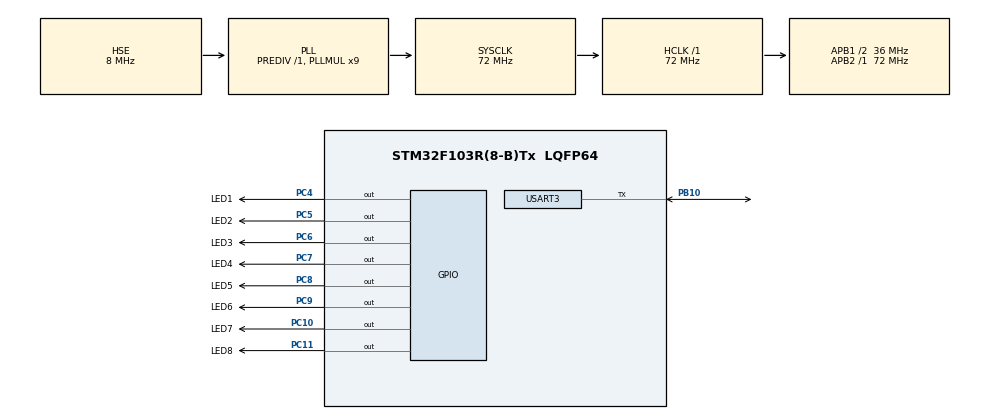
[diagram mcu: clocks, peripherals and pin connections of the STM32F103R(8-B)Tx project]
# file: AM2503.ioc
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Mcu.Family=STM32F1
Mcu.Name=STM32F103R(8-B)Tx
Mcu.Package=LQFP64
NVIC.PriorityGroup=NVIC_PRIORITYGROUP_4
NVIC.TIM1_BRK_IRQn=true\:0\:0\:false\:false\:true
NVIC.TIM1_CC_IRQn=true\:0\:0\:false\:false\:true
NVIC.TIM1_TRG_COM_IRQn=true\:0\:0\:false\:false\:true
NVIC.TIM1_UP_IRQn=true\:0\:0\:false\:false\:true
NVIC.USART3_IRQn=true\:0\:0\:false\:false\:true
PA13.Mode=Serial_Wire
PA13.Signal=SYS_JTMS-SWDIO
PA14.Mode=Serial_Wire
PA14.Signal=SYS_JTCK-SWCLK
PB10.Mode=Half_duplex(single_wire_mode)
PB10.Signal=USART3_TX
PC10.GPIO_Label=LED7
PC10.GPIO_ModeDefaultOutputPP=GPIO_MODE_OUTPUT_PP
PC10.GPIO_Speed=GPIO_SPEED_FREQ_MEDIUM
PC10.PinState=GPIO_PIN_RESET
PC10.Signal=GPIO_Output
PC11.GPIO_Label=LED8
PC11.GPIO_ModeDefaultOutputPP=GPIO_MODE_OUTPUT_PP
PC11.GPIO_Speed=GPIO_SPEED_FREQ_MEDIUM
PC11.PinState=GPIO_PIN_RESET
PC11.Signal=GPIO_Output
PC4.GPIO_Label=LED1
PC4.GPIO_ModeDefaultOutputPP=GPIO_MODE_OUTPUT_PP
PC4.GPIO_Speed=GPIO_SPEED_FREQ_MEDIUM
PC4.PinState=GPIO_PIN_RESET
PC4.Signal=GPIO_Output
PC5.GPIO_Label=LED2
PC5.GPIO_ModeDefaultOutputPP=GPIO_MODE_OUTPUT_PP
PC5.GPIO_Speed=GPIO_SPEED_FREQ_MEDIUM
PC5.PinState=GPIO_PIN_RESET
PC5.Signal=GPIO_Output
PC6.GPIO_Label=LED3
PC6.GPIO_ModeDefaultOutputPP=GPIO_MODE_OUTPUT_PP
PC6.GPIO_Speed=GPIO_SPEED_FREQ_MEDIUM
PC6.PinState=GPIO_PIN_RESET
PC6.Signal=GPIO_Output
PC7.GPIO_Label=LED4
PC7.GPIO_ModeDefaultOutputPP=GPIO_MODE_OUTPUT_PP
PC7.GPIO_Speed=GPIO_SPEED_FREQ_MEDIUM
PC7.PinState=GPIO_PIN_RESET
PC7.Signal=GPIO_Output
PC8.GPIO_Label=LED5
PC8.GPIO_ModeDefaultOutputPP=GPIO_MODE_OUTPUT_PP
PC8.GPIO_Speed=GPIO_SPEED_FREQ_MEDIUM
PC8.PinState=GPIO_PIN_RESET
PC8.Signal=GPIO_Output
PC9.GPIO_Label=LED6
PC9.GPIO_ModeDefaultOutputPP=GPIO_MODE_OUTPUT_PP
PC9.GPIO_Speed=GPIO_SPEED_FREQ_MEDIUM
PC9.PinState=GPIO_PIN_RESET
PC9.Signal=GPIO_Output
PD0-OSC_IN.Mode=HSE-External-Oscillator
PD0-OSC_IN.Signal=RCC_OSC_IN
PD1-OSC_OUT.Mode=HSE-External-Oscillator
PD1-OSC_OUT.Signal=RCC_OSC_OUT
ProjectManager.HeapSize=0x200
ProjectManager.StackSize=0x400
ProjectManager.TargetToolchain=SW4STM32
RCC.AHBFreq_Value=72000000
RCC.APB1CLKDivider=RCC_HCLK_DIV2
RCC.APB1Freq_Value=36000000
RCC.APB1TimFreq_Value=72000000
RCC.APB2Freq_Value=72000000
RCC.APB2TimFreq_Value=72000000
RCC.EnbaleCSS=true
RCC.HCLKFreq_Value=72000000
RCC.HSIState=RCC_HSI_ON
RCC.PLLMUL=RCC_PLL_MUL9
RCC.PLLSourceVirtual=RCC_PLLSOURCE_HSE
RCC.SYSCLKFreq_VALUE=72000000
RCC.SYSCLKSource=RCC_SYSCLKSOURCE_PLLCLK
RCC.USBFreq_Value=72000000
TIM1.Period=1008
USART3.BaudRate=8792
VP_TIM1_VS_ClockSourceINT.Mode=Internal
board=AM2503

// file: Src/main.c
/**
  ******************************************************************************
  * File Name          : main.c
  * Description        : Main program body
  ******************************************************************************
  *
  * COPYRIGHT(c) 2016 STMicroelectronics
  *
  * Redistribution and use in source and binary forms, with or without modification,
  * are permitted provided that the following conditions are met:
  *   1. Redistributions of source code must retain the above copyright notice,
  *      this list of conditions and the following disclaimer.
  *   2. Redistributions in binary form must reproduce the above copyright notice,
  *      this list of conditions and the following disclaimer in the documentation
  *      and/or other materials provided with the distribution.
  *   3. Neither the name of STMicroelectronics nor the names of its contributors
  *      may be used to endorse or promote products derived from this software
  *      without specific prior written permission.
  *
  * THIS SOFTWARE IS PROVIDED BY THE COPYRIGHT HOLDERS AND CONTRIBUTORS "AS IS"
  * AND ANY EXPRESS OR IMPLIED WARRANTIES, INCLUDING, BUT NOT LIMITED TO, THE
  * IMPLIED WARRANTIES OF MERCHANTABILITY AND FITNESS FOR A PARTICULAR PURPOSE ARE
  * DISCLAIMED. IN NO EVENT SHALL THE COPYRIGHT HOLDER OR CONTRIBUTORS BE LIABLE
  * FOR ANY DIRECT, INDIRECT, INCIDENTAL, SPECIAL, EXEMPLARY, OR CONSEQUENTIAL
  * DAMAGES (INCLUDING, BUT NOT LIMITED TO, PROCUREMENT OF SUBSTITUTE GOODS OR
  * SERVICES; LOSS OF USE, DATA, OR PROFITS; OR BUSINESS INTERRUPTION) HOWEVER
  * CAUSED AND ON ANY THEORY OF LIABILITY, WHETHER IN CONTRACT, STRICT LIABILITY,
  * OR TORT (INCLUDING NEGLIGENCE OR OTHERWISE) ARISING IN ANY WAY OUT OF THE USE
  * OF THIS SOFTWARE, EVEN IF ADVISED OF THE POSSIBILITY OF SUCH DAMAGE.
  *
  ******************************************************************************
  */
#include "stm32f1xx_hal.h"
#include "tim.h"
#include "usart.h"
#include "gpio.h"

/* USER CODE BEGIN Includes */

#include <string.h>
#define time 90
/* USER CODE END Includes */

/* USER CODE BEGIN PV */
/* Private variables ---------------------------------------------------------*/
	typedef enum {
	LOW  =  0 ,
	HIGH =  1
	} Logical_State;
		uint8_t data[10] , Half_duplex_Receive_Flag = LOW;
/* USER CODE END PV */

void SystemClock_Config(void);
void Error_Handler(void);

/* USER CODE BEGIN PFP */
/* Private function prototypes -----------------------------------------------*/

/* USER CODE END PFP */

/* USER CODE BEGIN 0 */

	void Blink ()
	{
		HAL_GPIO_TogglePin(LED1_GPIO_Port,LED1_Pin);
		HAL_Delay(time);

		HAL_GPIO_TogglePin(LED2_GPIO_Port,LED2_Pin);
		HAL_Delay(time);

		HAL_GPIO_TogglePin(LED3_GPIO_Port,LED3_Pin);
		HAL_Delay(time);

		HAL_GPIO_TogglePin(LED4_GPIO_Port,LED4_Pin);
		HAL_Delay(time);

		HAL_GPIO_TogglePin(LED5_GPIO_Port,LED5_Pin);
		HAL_Delay(time);

		HAL_GPIO_TogglePin(LED6_GPIO_Port,LED6_Pin);
		HAL_Delay(time);

		HAL_GPIO_TogglePin(LED7_GPIO_Port,LED7_Pin);
		HAL_Delay(time);

		HAL_GPIO_TogglePin(LED8_GPIO_Port,LED8_Pin);
		HAL_Delay(time);

		HAL_GPIO_TogglePin(LED8_GPIO_Port,LED8_Pin);
		HAL_Delay(time);

		HAL_GPIO_TogglePin(LED7_GPIO_Port,LED7_Pin);
		HAL_Delay(time);

		HAL_GPIO_TogglePin(LED6_GPIO_Port,LED6_Pin);
		HAL_Delay(time);

		HAL_GPIO_TogglePin(LED5_GPIO_Port,LED5_Pin);
		HAL_Delay(time);

		HAL_GPIO_TogglePin(LED4_GPIO_Port,LED4_Pin);
		HAL_Delay(time);

		HAL_GPIO_TogglePin(LED3_GPIO_Port,LED3_Pin);
		HAL_Delay(time);

		HAL_GPIO_TogglePin(LED2_GPIO_Port,LED2_Pin);
		HAL_Delay(time);

		HAL_GPIO_TogglePin(LED1_GPIO_Port,LED1_Pin);
		HAL_Delay(time);

	}

/* USER CODE END 0 */

int main(void)
{

  /* MCU Configuration----------------------------------------------------------*/

  /* Reset of all peripherals, Initializes the Flash interface and the Systick. */
  HAL_Init();

  /* Configure the system clock */
  SystemClock_Config();

  /* Initialize all configured peripherals */
  MX_GPIO_Init();
  MX_TIM1_Init();
  MX_USART3_UART_Init();

  /* USER CODE BEGIN 2 */
  memset(data,0,10);
  /* USER CODE END 2 */

  /* Infinite loop */
  while (1)
  {

  /* USER CODE BEGIN 3 */

	 HAL_Delay(1980);
	 HAL_HalfDuplex_Init(&huart3);
	 HAL_GPIO_WritePin(GPIOB,GPIO_PIN_10,GPIO_PIN_RESET);
	 HAL_HalfDuplex_EnableReceiver(&huart3);
//	 Half_duplex_Receive_Flag = HIGH;
	 HAL_UART_Receive_DMA(&huart3,data,5);
	 Blink();
  }
  /* USER CODE END 3 */

}

/** System Clock Configuration
*/
void SystemClock_Config(void)
{

  RCC_OscInitTypeDef RCC_OscInitStruct;
  RCC_ClkInitTypeDef RCC_ClkInitStruct;

  RCC_OscInitStruct.OscillatorType = RCC_OSCILLATORTYPE_HSE;
  RCC_OscInitStruct.HSEState = RCC_HSE_ON;
  RCC_OscInitStruct.HSEPredivValue = RCC_HSE_PREDIV_DIV1;
  RCC_OscInitStruct.PLL.PLLState = RCC_PLL_ON;
  RCC_OscInitStruct.PLL.PLLSource = RCC_PLLSOURCE_HSE;
  RCC_OscInitStruct.PLL.PLLMUL = RCC_PLL_MUL9;
  if (HAL_RCC_OscConfig(&RCC_OscInitStruct) != HAL_OK)
  {
    Error_Handler();
  }

  RCC_ClkInitStruct.ClockType = RCC_CLOCKTYPE_HCLK|RCC_CLOCKTYPE_SYSCLK
                              |RCC_CLOCKTYPE_PCLK1|RCC_CLOCKTYPE_PCLK2;
  RCC_ClkInitStruct.SYSCLKSource = RCC_SYSCLKSOURCE_PLLCLK;
  RCC_ClkInitStruct.AHBCLKDivider = RCC_SYSCLK_DIV1;
  RCC_ClkInitStruct.APB1CLKDivider = RCC_HCLK_DIV2;
  RCC_ClkInitStruct.APB2CLKDivider = RCC_HCLK_DIV1;
  if (HAL_RCC_ClockConfig(&RCC_ClkInitStruct, FLASH_LATENCY_2) != HAL_OK)
  {
    Error_Handler();
  }

  HAL_RCC_EnableCSS();

  HAL_SYSTICK_Config(HAL_RCC_GetHCLKFreq()/1000);

  HAL_SYSTICK_CLKSourceConfig(SYSTICK_CLKSOURCE_HCLK);

  /* SysTick_IRQn interrupt configuration */
  HAL_NVIC_SetPriority(SysTick_IRQn, 0, 0);
}

void Error_Handler(void)
{
  while(1)
  {
  }
}

/************************ (C) COPYRIGHT STMicroelectronics *****END OF FILE****/
